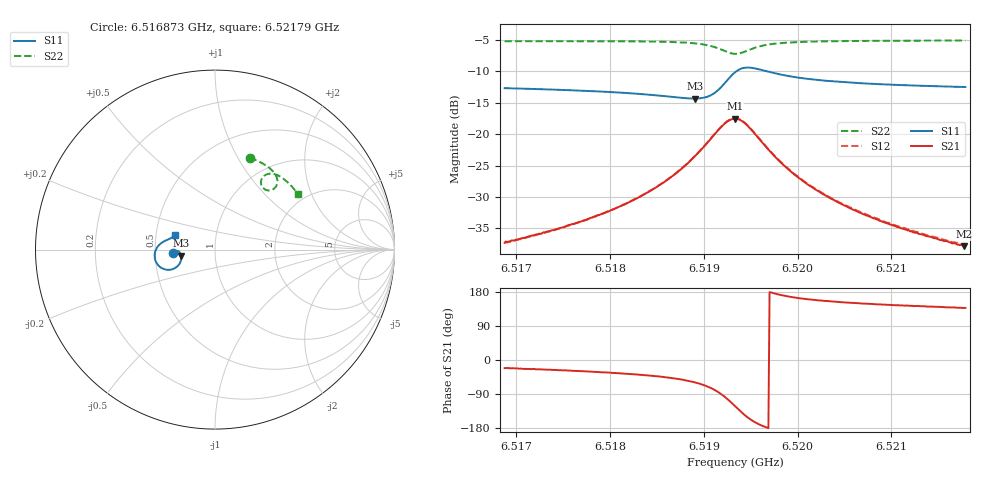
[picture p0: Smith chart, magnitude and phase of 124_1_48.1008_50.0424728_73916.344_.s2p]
#  HZ  S  RI  R  50.00
! Rohde & Schwarz Vector Network Analyzer
! Rohde-Schwarz,ZNB20-2Port,1311601062101988,3.16
! Created: UTC 12/23/2023, 3:47:05 AM
! freq[Hz]  re:S11  im:S11  re:S21  im:S21  re:S12  im:S12  re:S22  im:S22
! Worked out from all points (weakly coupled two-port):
!   401 points, 6.516873 GHz to 6.52179 GHz, reference 50 ohm
!   highest |S21| = -17.54 dB at 6.519331 GHz (marker M1); lowest = -37.8 dB at 6.521777 GHz (marker M2)
!   lowest |S11| = -14.3 dB at 6.518901 GHz (marker M3), VSWR 1.47, Z = 34.1 - j2.45 ohm
!   |S11| at or under -10 dB: start of sweep to 6.519346 GHz; 6.519671 GHz to end of sweep
!   |S22| runs from -7.2 to -5.1 dB; largest |S21 - S12| = 0.004
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6.5168734e9  -0.2313 -0.0195  0.0127 -0.00499  0.0129 -0.00446  0.1943 0.5125
6.5173773e9  -0.226 -0.012  0.0154 -0.00758  0.0156 -0.00687  0.2314 0.4973
6.5176969e9  -0.2214 -0.00827  0.0176 -0.01  0.0179 -0.00937  0.2553 0.4855
6.5181639e9  -0.2126 -0.00571  0.0225 -0.0164  0.0231 -0.0156  0.2904 0.4641
6.5185203e9  -0.2024 -0.0096  0.0284 -0.0269  0.0294 -0.0261  0.3179 0.4416
6.5187293e9  -0.1946 -0.0183  0.0325 -0.039  0.0338 -0.0381  0.3338 0.4224
6.5189013e9  -0.1886 -0.0347  0.0343 -0.0569  0.0362 -0.0561  0.345 0.3994
6.5190119e9  -0.1885 -0.0534  0.0311 -0.0751  0.0337 -0.0745  0.348 0.3788
6.519098e9  -0.1951 -0.0742  0.0219 -0.0941  0.0248 -0.0939  0.3436 0.3588
6.5192332e9  -0.2361 -0.109  -0.0202 -0.1218  -0.0167 -0.1232  0.3123 0.331
6.5193315e9  -0.2919 -0.1053  -0.07 -0.1129  -0.0672 -0.1158  0.2743 0.3377
6.5193807e9  -0.316 -0.0874  -0.0895 -0.0946  -0.0874 -0.098  0.261 0.3529
6.5194421e9  -0.3332 -0.0571  -0.1013 -0.0665  -0.1002 -0.0699  0.2559 0.3762
6.5195404e9  -0.3336 -0.0129  -0.0971 -0.0285  -0.097 -0.0316  0.2677 0.4052
6.519651e9  -0.3186 0.0178  -0.0808 -0.00488  -0.0814 -0.00744  0.2902 0.4199
6.5198846e9  -0.2881 0.0436  -0.0527 0.0108  -0.0535 0.00951  0.3293 0.4213
6.520155e9  -0.2671 0.0537  -0.0353 0.0134  -0.036 0.0125  0.3599 0.4089
6.5205605e9  -0.2497 0.0614  -0.0225 0.0124  -0.0232 0.012  0.3923 0.3863
6.5209784e9  -0.2384 0.0677  -0.0158 0.0109  -0.0166 0.0105  0.4188 0.3617
6.521384e9  -0.2304 0.0734  -0.0119 0.00972  -0.0125 0.00945  0.4407 0.3372
6.5217773e9  -0.2236 0.0788  -0.00945 0.00868  -0.01 0.00867  0.46 0.3127
6.5217896e9  -0.2234 0.0789  -0.0095 0.00874  -0.00985 0.00867  0.4605 0.3121
